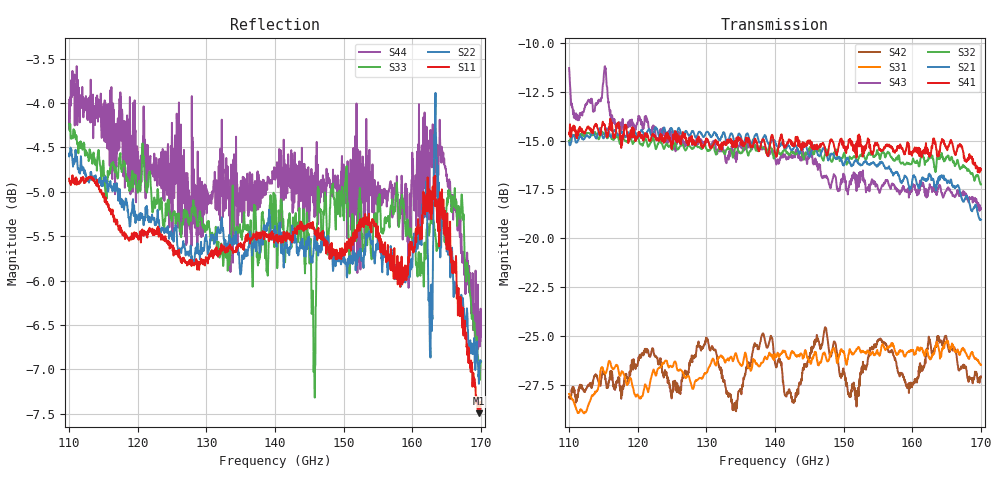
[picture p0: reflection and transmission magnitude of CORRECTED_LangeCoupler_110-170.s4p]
! Generated by Phase II Calibration
# Hz S RI R 50
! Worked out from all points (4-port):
!   1471 points, 110 GHz to 170 GHz, reference 50 ohm
!   strongest paths, dB at 110 GHz, 125 GHz, 140 GHz, 155 GHz, 170 GHz:
!     S41: -14.6, -15.3, -15.6, -15.2, -16.5
!     S21: -15.1, -14.4, -15.0, -16.2, -19.1
!     S32: -15.0, -15.5, -15.7, -15.7, -17.2
!     S43: -11.3, -15.1, -15.9, -17.5, -18.5
!     S31: -28.0, -26.6, -26.0, -25.9, -26.5
!     S42: -28.1, -28.0, -26.4, -25.2, -27.1
!   lowest |S11| = -7.5 dB at 169.7 GHz (marker M1), VSWR 2.46, Z = 22.5 - j14.7 ohm
!   |S11| at or under -10 dB: nowhere
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1.1e11  -0.5429 -0.1801  0.0899 0.1592  -0.0401 -0.00238  -0.1366 -0.1358
        0.0955 0.1475  -0.5567 -0.1921  -0.1138 -0.1407  -0.0403 -0.00425
        -0.04 -0.000102  -0.1147 -0.1354  -0.5919 -0.1639  -0.1265 -0.0456
        -0.1416 -0.1195  -0.0391 -0.00304  0.0571 -0.2664  -0.5905 -0.2297
1.142857e11  -0.5345 -0.1895  0.1236 0.1493  -0.0439 -0.00574  -0.1537 -0.1297
             0.1203 0.1434  -0.5359 -0.1927  -0.132 -0.1236  -0.0445 0.00471
             -0.0416 -0.00433  -0.1273 -0.1261  -0.576 -0.1441  -0.1316 -0.1061
             -0.152 -0.1113  -0.0429 0.00389  -0.1237 -0.189  -0.5773 -0.2241
1.266122e11  -0.4648 -0.2191  0.1726 0.0797  -0.0407 0.0213  -0.1441 -0.1097
             0.1664 0.0731  -0.4858 -0.2054  -0.1346 -0.1092  -0.04 0.0168
             -0.0396 0.022  -0.1323 -0.112  -0.518 -0.1542  -0.2057 -0.019
             -0.1474 -0.1059  -0.0409 0.0164  -0.1313 -0.1122  -0.5218 -0.2083
1.473469e11  -0.462 -0.2559  0.1511 -0.0755  -0.0183 0.0445  -0.1501 -0.0899
             0.1474 -0.0776  -0.4737 -0.2382  -0.1412 -0.0854  -0.0128 0.0542
             -0.0176 0.047  -0.1359 -0.0945  -0.5286 -0.1711  -0.1189 0.125
             -0.1505 -0.0736  -0.016 0.0569  -0.1424 0.022  -0.4965 -0.2696
1.532653e11  -0.4683 -0.2728  0.124 -0.099  -0.00257 0.0508  -0.1487 -0.0705
             0.1188 -0.1027  -0.4633 -0.247  -0.1434 -0.0782  -0.00767 0.0482
             -0.00515 0.0504  -0.137 -0.0804  -0.5178 -0.1506  -0.0307 0.1682
             -0.1536 -0.0718  -0.00881 0.0453  -0.1311 0.00384  -0.4963 -0.2585
1.697143e11  -0.3257 -0.2683  0.039 -0.1084  0.0247 0.0413  -0.1425 -0.0462
             0.0351 -0.1075  -0.3598 -0.2505  -0.1314 -0.0527  0.022 0.0366
             0.0232 0.0422  -0.1304 -0.0568  -0.4016 -0.2039  0.0904 0.0768
             -0.1426 -0.044  0.0216 0.0376  -0.1198 -0.00144  -0.3694 -0.2905
1.7e11  -0.3326 -0.2695  0.0378 -0.1048  0.0248 0.0404  -0.1433 -0.0436
        0.0367 -0.1053  -0.3744 -0.2522  -0.1268 -0.0507  0.0224 0.038
        0.023 0.0415  -0.1245 -0.0579  -0.4074 -0.1932  0.0845 0.081
        -0.1442 -0.042  0.0224 0.0383  -0.1192 0.00636  -0.357 -0.2999
